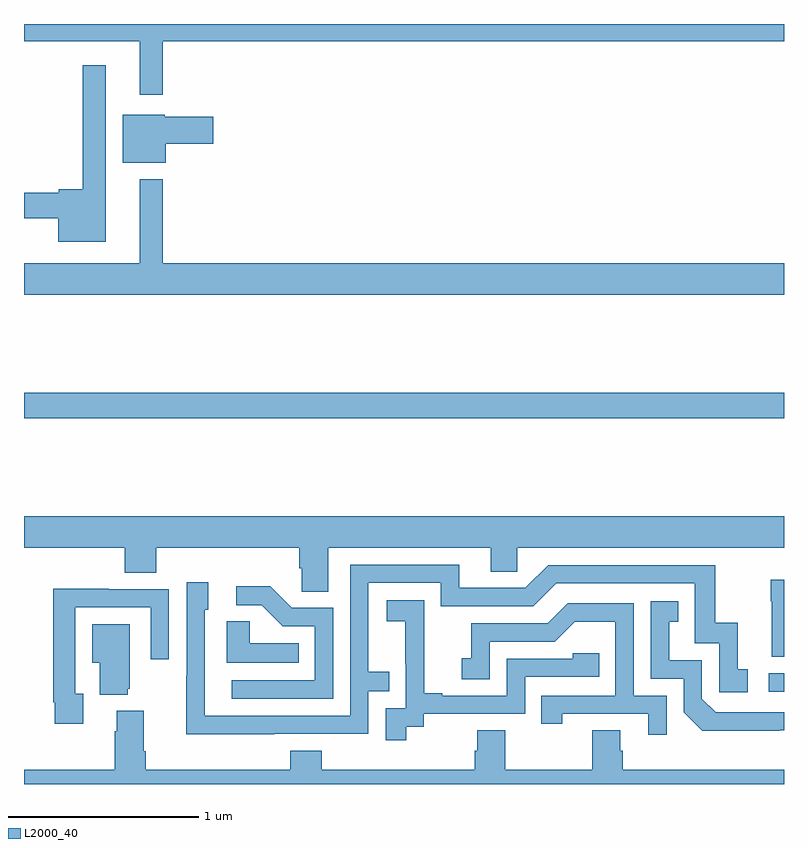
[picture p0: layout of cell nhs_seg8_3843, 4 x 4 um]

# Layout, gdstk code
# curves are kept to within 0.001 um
import gdstk
lib = gdstk.Library(unit=1e-6, precision=1e-09)
def R(c, l, rs):  # rectangles x0, y0, x1, y1
    for r in rs: c.add(gdstk.rectangle(r[:2], r[2:], *l))
def P(c, l, *ps):  # polygons
    for p in ps: c.add(gdstk.Polygon(p, *l))
L2000_40 = (2000, 40)

nhs_seg8_3843 = lib.new_cell('nhs_seg8_3843')
R(nhs_seg8_3843, L2000_40, [(350.919,1138.386,351,1138.482), (347,1139.824,351,1139.96)])
P(nhs_seg8_3843, L2000_40, [(347.731,1141.808),(351,1141.808),(351,1141.9),(347,1141.9),(347,1141.808),(347.609,1141.808),(347.609,1141.527),(347.731,1141.527)],
  [(347.431,1141.684),(347.31,1141.684),(347.31,1141.031),(347.184,1141.031),(347.184,1141.013),(347,1141.013),(347,1140.878),(347.18,1140.878),(347.18,1140.755),(347.431,1140.755)],
  [(347.746,1141.271),(347.995,1141.271),(347.995,1141.413),(347.742,1141.413),(347.742,1141.423),(347.519,1141.423),(347.519,1141.169),(347.746,1141.169)],
  [(351,1140.64),(347.731,1140.64),(347.731,1141.084),(347.609,1141.084),(347.609,1140.64),(347,1140.64),(347,1140.476),(351,1140.476)],
  [(348.601,1139.144),(349.457,1139.144),(349.457,1139.017),(349.596,1139.017),(349.596,1139.144),(351,1139.144),(351,1139.308),(347,1139.308),(347,1139.144),(347.531,1139.144),(347.531,1139.011),(347.696,1139.011),(347.696,1139.144),(348.449,1139.144),(348.449,1139.035),(348.462,1139.035),(348.462,1138.912),(348.601,1138.912)],
  [(348.317,1138.164),(348.813,1138.164),(348.813,1138.389),(348.923,1138.389),(348.923,1138.49),(348.813,1138.49),(348.813,1138.959),(349.194,1138.959),(349.194,1138.836),(349.68,1138.836),(349.8,1138.956),(350.529,1138.956),(350.529,1138.641),(350.658,1138.641),(350.658,1138.383),(350.809,1138.383),(350.809,1138.503),(350.756,1138.503),(350.756,1138.75),(350.638,1138.75),(350.638,1139.052),(349.758,1139.052),(349.638,1138.932),(349.291,1138.932),(349.291,1139.055),(348.717,1139.055),(348.717,1138.26),(347.952,1138.26),(347.952,1138.818),(347.971,1138.818),(347.971,1138.963),(347.856,1138.963),(347.856,1138.469),(347.854,1138.469),(347.854,1138.163)],
  [(351,1138.975),(350.929,1138.975),(350.929,1138.862),(350.936,1138.862),(350.936,1138.571),(351,1138.571)],
  [(348.627,1138.827),(348.408,1138.827),(348.295,1138.94),(348.117,1138.94),(348.117,1138.842),(348.251,1138.842),(348.362,1138.731),(348.531,1138.731),(348.531,1138.446),(348.093,1138.446),(348.093,1138.35),(348.627,1138.35)],
  [(347.311,1138.374),(347.271,1138.374),(347.271,1138.83),(347.667,1138.83),(347.667,1138.557),(347.763,1138.557),(347.763,1138.926),(347.447,1138.926),(347.447,1138.928),(347.155,1138.928),(347.155,1138.33),(347.163,1138.33),(347.163,1138.218),(347.311,1138.218)],
  [(349.012,1138.201),(349.104,1138.201),(349.104,1138.269),(349.638,1138.269),(349.638,1138.464),(350.027,1138.464),(350.027,1138.587),(349.887,1138.587),(349.887,1138.56),(349.542,1138.56),(349.542,1138.365),(349.201,1138.365),(349.201,1138.378),(349.106,1138.378),(349.106,1138.661),(349.107,1138.661),(349.107,1138.867),(348.909,1138.867),(348.909,1138.757),(349.007,1138.757),(349.007,1138.529),(349.008,1138.529),(349.008,1138.299),(348.903,1138.299),(348.903,1138.131),(349.012,1138.131)],
  [(350.978,1138.182),(351,1138.182),(351,1138.278),(350.64,1138.278),(350.568,1138.35),(350.568,1138.551),(350.395,1138.551),(350.395,1138.755),(350.444,1138.755),(350.444,1138.861),(350.298,1138.861),(350.298,1138.455),(350.472,1138.455),(350.472,1138.278),(350.57,1138.181)],
  [(350.382,1138.365),(350.208,1138.365),(350.208,1138.851),(349.862,1138.851),(349.757,1138.746),(349.354,1138.746),(349.354,1138.561),(349.305,1138.561),(349.305,1138.452),(349.452,1138.452),(349.452,1138.65),(349.794,1138.65),(349.898,1138.754),(350.112,1138.754),(350.112,1138.365),(349.723,1138.365),(349.723,1138.218),(349.834,1138.218),(349.834,1138.269),(350.285,1138.269),(350.285,1138.158),(350.382,1138.158)],
  [(348.446,1138.642),(348.189,1138.642),(348.189,1138.757),(348.068,1138.757),(348.068,1138.538),(348.446,1138.538)],
  [(347.546,1138.401),(347.557,1138.401),(347.557,1138.741),(347.36,1138.741),(347.36,1138.538),(347.399,1138.538),(347.399,1138.37),(347.546,1138.37)],
  [(349.99,1138.184),(349.99,1137.976),(349.533,1137.976),(349.533,1138.184),(349.385,1138.184),(349.385,1138.074),(349.373,1138.074),(349.373,1137.976),(348.566,1137.976),(348.566,1138.075),(348.401,1138.075),(348.401,1137.976),(347.642,1137.976),(347.642,1138.072),(347.629,1138.072),(347.629,1138.285),(347.489,1138.285),(347.489,1138.178),(347.477,1138.178),(347.477,1137.976),(347,1137.976),(347,1137.9),(351,1137.9),(351,1137.976),(350.15,1137.976),(350.15,1138.074),(350.137,1138.074),(350.137,1138.184)])

lib.write_gds('nhs_seg8_3843.gds')
